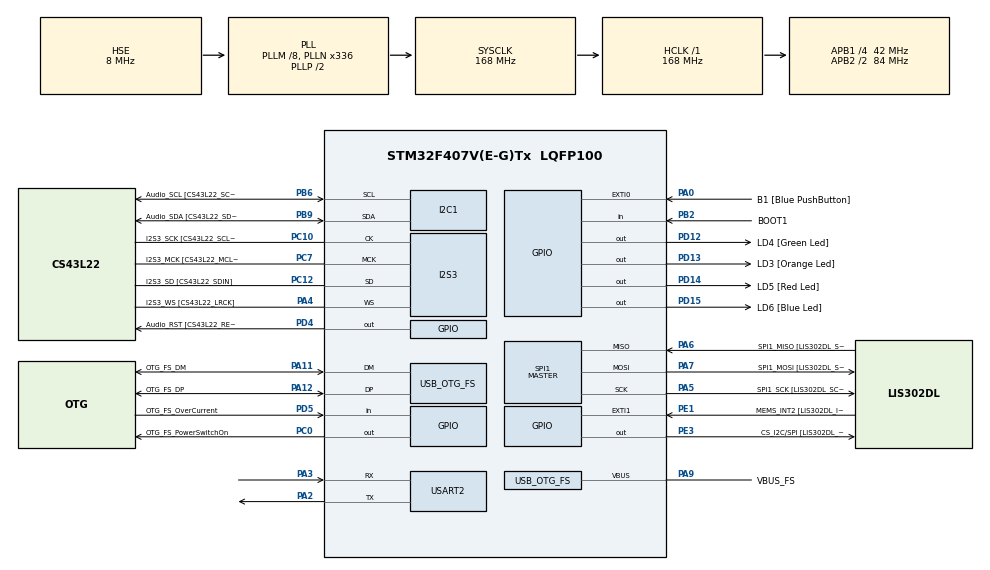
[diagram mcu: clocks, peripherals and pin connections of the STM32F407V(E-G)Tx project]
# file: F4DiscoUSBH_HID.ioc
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I2S3.AudioFreq-Half_Duplex_Master=I2S_AUDIOFREQ_96K
I2S3.ErrorAudioFreq=-2.34 %
I2S3.ErrorAudioFreq-Half_Duplex_Master=0.8 %
I2S3.FullDuplexMode=I2S_FULLDUPLEXMODE_DISABLE
I2S3.Instance=SPI$Index
I2S3.RealAudioFreq=93.75 KHz
I2S3.RealAudioFreq-Half_Duplex_Master=96.774 KHz
I2S3.VirtualMode=I2S_MODE_MASTER
Mcu.Family=STM32F4
Mcu.Name=STM32F407V(E-G)Tx
Mcu.Package=LQFP100
NVIC.OTG_FS_IRQn=true\:0\:0\:false\:false\:true\:false\:true
NVIC.PriorityGroup=NVIC_PRIORITYGROUP_0
PA0-WKUP.GPIO_Label=B1 [Blue PushButton]
PA0-WKUP.GPIO_ModeDefaultEXTI=GPIO_MODE_EVT_RISING
PA0-WKUP.GPIO_PuPd=GPIO_NOPULL
PA0-WKUP.Signal=GPXTI0
PA10.GPIO_Label=OTG_FS_ID
PA10.GPIO_Mode=GPIO_MODE_AF_PP
PA10.GPIO_PuPd=GPIO_NOPULL
PA10.GPIO_Speed=GPIO_SPEED_FREQ_LOW
PA10.Signal=USB_OTG_FS_ID
PA11.GPIO_Label=OTG_FS_DM
PA11.GPIO_Mode=GPIO_MODE_AF_PP
PA11.GPIO_PuPd=GPIO_NOPULL
PA11.GPIO_Speed=GPIO_SPEED_FREQ_LOW
PA11.Mode=Host_Only
PA11.Signal=USB_OTG_FS_DM
PA12.GPIO_Label=OTG_FS_DP
PA12.GPIO_Mode=GPIO_MODE_AF_PP
PA12.GPIO_PuPd=GPIO_NOPULL
PA12.GPIO_Speed=GPIO_SPEED_FREQ_LOW
PA12.Mode=Host_Only
PA12.Signal=USB_OTG_FS_DP
PA13.GPIO_Label=SWDIO
PA13.Mode=Serial_Wire
PA13.Signal=SYS_JTMS-SWDIO
PA14.GPIO_Label=SWCLK
PA14.Mode=Serial_Wire
PA14.Signal=SYS_JTCK-SWCLK
PA2.Mode=Asynchronous
PA2.Signal=USART2_TX
PA3.Mode=Asynchronous
PA3.Signal=USART2_RX
PA4.GPIO_Label=I2S3_WS [CS43L22_LRCK]
PA4.GPIO_Mode=GPIO_MODE_AF_PP
PA4.GPIO_PuPd=GPIO_NOPULL
PA4.GPIO_Speed=GPIO_SPEED_FREQ_LOW
PA4.Mode=Half_Duplex_Master
PA4.Signal=I2S3_WS
PA5.GPIO_Label=SPI1_SCK [LIS302DL_SCL/SPC]
PA5.GPIO_Mode=GPIO_MODE_AF_PP
PA5.GPIO_PuPd=GPIO_NOPULL
PA5.GPIO_Speed=GPIO_SPEED_FREQ_LOW
PA5.Mode=Full_Duplex_Master
PA5.Signal=SPI1_SCK
PA6.GPIO_Label=SPI1_MISO [LIS302DL_SDO]
PA6.GPIO_Mode=GPIO_MODE_AF_PP
PA6.GPIO_PuPd=GPIO_NOPULL
PA6.GPIO_Speed=GPIO_SPEED_FREQ_LOW
PA6.Mode=Full_Duplex_Master
PA6.Signal=SPI1_MISO
PA7.GPIO_Label=SPI1_MOSI [LIS302DL_SDA/SDI/SDO]
PA7.GPIO_Mode=GPIO_MODE_AF_PP
PA7.GPIO_PuPd=GPIO_NOPULL
PA7.GPIO_Speed=GPIO_SPEED_FREQ_LOW
PA7.Mode=Full_Duplex_Master
PA7.Signal=SPI1_MOSI
PA9.GPIO_Label=VBUS_FS
PA9.GPIO_Mode=GPIO_MODE_INPUT
PA9.GPIO_PuPd=GPIO_NOPULL
PA9.Mode=Activate_VBUS
PA9.Signal=USB_OTG_FS_VBUS
PB10.GPIO_Label=CLK_IN [MP45DT02_CLK]
PB10.GPIO_Mode=GPIO_MODE_AF_PP
PB10.GPIO_PuPd=GPIO_NOPULL
PB10.GPIO_Speed=GPIO_SPEED_FREQ_LOW
PB10.Signal=I2S2_CK
PB2.GPIO_Label=BOOT1
PB2.GPIO_Mode=GPIO_MODE_INPUT
PB2.GPIO_PuPd=GPIO_NOPULL
PB2.Signal=GPIO_Input
PB3.GPIO_Label=SWO
PB3.Signal=SYS_JTDO-SWO
PB6.GPIO_Label=Audio_SCL [CS43L22_SCL]
PB6.GPIO_Mode=GPIO_MODE_AF_OD
PB6.GPIO_PuPd=GPIO_NOPULL
PB6.GPIO_Speed=GPIO_SPEED_FREQ_LOW
PB6.Mode=I2C
PB6.Signal=I2C1_SCL
PB9.GPIO_Label=Audio_SDA [CS43L22_SDA]
PB9.GPIO_Mode=GPIO_MODE_AF_OD
PB9.GPIO_PuPd=GPIO_NOPULL
PB9.GPIO_Speed=GPIO_SPEED_FREQ_LOW
PB9.Mode=I2C
PB9.Signal=I2C1_SDA
PC0.GPIO_Label=OTG_FS_PowerSwitchOn
PC0.GPIO_PuPd=GPIO_NOPULL
PC0.GPIO_Speed=GPIO_SPEED_FREQ_LOW
PC0.PinState=GPIO_PIN_SET
PC0.Signal=GPIO_Output
PC10.GPIO_Label=I2S3_SCK [CS43L22_SCLK]
PC10.GPIO_Mode=GPIO_MODE_AF_PP
PC10.GPIO_PuPd=GPIO_NOPULL
PC10.GPIO_Speed=GPIO_SPEED_FREQ_LOW
PC10.Mode=Half_Duplex_Master
PC10.Signal=I2S3_CK
PC12.GPIO_Label=I2S3_SD [CS43L22_SDIN]
PC12.GPIO_Mode=GPIO_MODE_AF_PP
PC12.GPIO_PuPd=GPIO_NOPULL
PC12.GPIO_Speed=GPIO_SPEED_FREQ_LOW
PC12.Mode=Half_Duplex_Master
PC12.Signal=I2S3_SD
PC14-OSC32_IN.GPIO_Label=PC14-OSC32_IN
PC14-OSC32_IN.Mode=LSE-External-Oscillator
PC14-OSC32_IN.Signal=RCC_OSC32_IN
PC15-OSC32_OUT.GPIO_Label=PC15-OSC32_OUT
PC15-OSC32_OUT.Mode=LSE-External-Oscillator
PC15-OSC32_OUT.Signal=RCC_OSC32_OUT
PC3.GPIO_Label=PDM_OUT [MP45DT02_DOUT]
PC3.GPIO_Mode=GPIO_MODE_AF_PP
PC3.GPIO_PuPd=GPIO_NOPULL
PC3.GPIO_Speed=GPIO_SPEED_FREQ_LOW
PC3.Signal=I2S2_SD
PC7.GPIO_Label=I2S3_MCK [CS43L22_MCLK]
PC7.GPIO_Mode=GPIO_MODE_AF_PP
PC7.GPIO_PuPd=GPIO_NOPULL
PC7.GPIO_Speed=GPIO_SPEED_FREQ_LOW
PC7.Mode=Master_Clock_Activated
PC7.Signal=I2S3_MCK
PD12.GPIO_Label=LD4 [Green Led]
PD12.GPIO_PuPd=GPIO_NOPULL
PD12.GPIO_Speed=GPIO_SPEED_FREQ_LOW
PD12.Signal=GPIO_Output
PD13.GPIO_Label=LD3 [Orange Led]
PD13.GPIO_PuPd=GPIO_NOPULL
PD13.GPIO_Speed=GPIO_SPEED_FREQ_LOW
PD13.Signal=GPIO_Output
PD14.GPIO_Label=LD5 [Red Led]
PD14.GPIO_PuPd=GPIO_NOPULL
PD14.GPIO_Speed=GPIO_SPEED_FREQ_LOW
PD14.Signal=GPIO_Output
PD15.GPIO_Label=LD6 [Blue Led]
PD15.GPIO_PuPd=GPIO_NOPULL
PD15.GPIO_Speed=GPIO_SPEED_FREQ_LOW
PD15.Signal=GPIO_Output
PD4.GPIO_Label=Audio_RST [CS43L22_RESET]
PD4.GPIO_PuPd=GPIO_NOPULL
PD4.GPIO_Speed=GPIO_SPEED_FREQ_LOW
PD4.Signal=GPIO_Output
PD5.GPIO_Label=OTG_FS_OverCurrent
PD5.GPIO_Mode=GPIO_MODE_INPUT
PD5.GPIO_PuPd=GPIO_NOPULL
PD5.Signal=GPIO_Input
PE1.GPIO_Label=MEMS_INT2 [LIS302DL_INT2]
PE1.GPIO_ModeDefaultEXTI=GPIO_MODE_EVT_RISING
PE1.GPIO_PuPd=GPIO_NOPULL
PE1.Signal=GPXTI1
PE3.GPIO_Label=CS_I2C/SPI [LIS302DL_CS_I2C/SPI]
PE3.GPIO_PuPd=GPIO_NOPULL
PE3.GPIO_Speed=GPIO_SPEED_FREQ_LOW
PE3.Signal=GPIO_Output
PH0-OSC_IN.GPIO_Label=PH0-OSC_IN
PH0-OSC_IN.Mode=HSE-External-Oscillator
PH0-OSC_IN.Signal=RCC_OSC_IN
PH1-OSC_OUT.GPIO_Label=PH1-OSC_OUT
PH1-OSC_OUT.Mode=HSE-External-Oscillator
PH1-OSC_OUT.Signal=RCC_OSC_OUT
ProjectManager.HeapSize=0x200
ProjectManager.StackSize=0x400
ProjectManager.TargetToolchain=STM32CubeIDE
RCC.48MHZClocksFreq_Value=48000000
RCC.AHBFreq_Value=168000000
RCC.APB1CLKDivider=RCC_HCLK_DIV4
RCC.APB1Freq_Value=42000000
RCC.APB1TimFreq_Value=84000000
RCC.APB2CLKDivider=RCC_HCLK_DIV2
RCC.APB2Freq_Value=84000000
RCC.APB2TimFreq_Value=168000000
RCC.CortexFreq_Value=168000000
RCC.HCLKFreq_Value=168000000
RCC.HSE_VALUE=8000000
RCC.HSI_VALUE=16000000
RCC.PLLM=8
RCC.PLLN=336
RCC.PLLQ=7
RCC.SYSCLKFreq_VALUE=168000000
RCC.SYSCLKSource=RCC_SYSCLKSOURCE_PLLCLK
RCC.VCOOutputFreq_Value=336000000
SPI1.BaudRatePrescaler-Full_Duplex_Master=SPI_BAUDRATEPRESCALER_2
SPI1.CalculateBaudRate-Full_Duplex_Master=42.0 MBits/s
SPI1.Direction=SPI_DIRECTION_2LINES
SPI1.Mode=SPI_MODE_MASTER
SPI1.Mode-Full_Duplex_Master=SPI_MODE_MASTER
SPI1.VirtualType=VM_MASTER
USART2.VirtualMode=VM_ASYNC
USB_HOST.BSP.number=1
USB_HOST.USBH_HandleTypeDef-HID_FS=hUsbHostFS
USB_HOST.VirtualModeFS=Hid
USB_HOST0.BSP.STBoard=false
USB_HOST0.BSP.api=Unknown
USB_HOST0.BSP.i2caddr=0
USB_HOST0.BSP.i2creg=0
USB_HOST0.BSP.instance=PC0
USB_HOST0.BSP.ip=GPIO
USB_HOST0.BSP.mode=Output
USB_HOST0.BSP.name=Drive_VBUS_FS
USB_HOST0.BSP.solution=PC0
USB_OTG_FS.VirtualMode=Host_Only
USB_OTG_FS.phy_itface=HCD_PHY_EMBEDDED
VP_USB_HOST_VS_USB_HOST_HID_FS.Mode=HID_FS
board=STM32F407G-DISC1

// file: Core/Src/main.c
/* USER CODE BEGIN Header */
/**
  ******************************************************************************
  * @file           : main.c
  * @brief          : Main program body
  ******************************************************************************
  * @attention
  *
  * <h2><center>&copy; Copyright (c) 2020 STMicroelectronics.
  * All rights reserved.</center></h2>
  *
  * This software component is licensed by ST under Ultimate Liberty license
  * SLA0044, the "License"; You may not use this file except in compliance with
  * the License. You may obtain a copy of the License at:
  *                             www.st.com/SLA0044
  *
  ******************************************************************************
  */
/* USER CODE END Header */

#include "main.h"
#include "usb_host.h"

/* USER CODE BEGIN Includes */
#include "usbh_hid.h"
/* USER CODE END Includes */

I2C_HandleTypeDef hi2c1;

I2S_HandleTypeDef hi2s3;

SPI_HandleTypeDef hspi1;

UART_HandleTypeDef huart2;

void SystemClock_Config(void);
static void MX_GPIO_Init(void);
static void MX_I2C1_Init(void);
static void MX_I2S3_Init(void);
static void MX_SPI1_Init(void);
static void MX_USART2_UART_Init(void);
void MX_USB_HOST_Process(void);

int main(void)
{

  /* MCU Configuration--------------------------------------------------------*/

  /* Reset of all peripherals, Initializes the Flash interface and the Systick. */
  HAL_Init();

  /* Configure the system clock */
  SystemClock_Config();

  /* Initialize all configured peripherals */
  MX_GPIO_Init();
  MX_I2C1_Init();
  MX_I2S3_Init();
  MX_SPI1_Init();
  MX_USB_HOST_Init();
  MX_USART2_UART_Init();

  /* Infinite loop */
  while (1)
  {
    MX_USB_HOST_Process();

  }
}

void SystemClock_Config(void)
{
  RCC_OscInitTypeDef RCC_OscInitStruct = {0};
  RCC_ClkInitTypeDef RCC_ClkInitStruct = {0};
  RCC_PeriphCLKInitTypeDef PeriphClkInitStruct = {0};

  /** Configure the main internal regulator output voltage
  */
  __HAL_RCC_PWR_CLK_ENABLE();
  __HAL_PWR_VOLTAGESCALING_CONFIG(PWR_REGULATOR_VOLTAGE_SCALE1);
  /** Initializes the CPU, AHB and APB busses clocks
  */
  RCC_OscInitStruct.OscillatorType = RCC_OSCILLATORTYPE_HSE;
  RCC_OscInitStruct.HSEState = RCC_HSE_ON;
  RCC_OscInitStruct.PLL.PLLState = RCC_PLL_ON;
  RCC_OscInitStruct.PLL.PLLSource = RCC_PLLSOURCE_HSE;
  RCC_OscInitStruct.PLL.PLLM = 8;
  RCC_OscInitStruct.PLL.PLLN = 336;
  RCC_OscInitStruct.PLL.PLLP = RCC_PLLP_DIV2;
  RCC_OscInitStruct.PLL.PLLQ = 7;
  if (HAL_RCC_OscConfig(&RCC_OscInitStruct) != HAL_OK)
  {
    Error_Handler();
  }
  /** Initializes the CPU, AHB and APB busses clocks
  */
  RCC_ClkInitStruct.ClockType = RCC_CLOCKTYPE_HCLK|RCC_CLOCKTYPE_SYSCLK
                              |RCC_CLOCKTYPE_PCLK1|RCC_CLOCKTYPE_PCLK2;
  RCC_ClkInitStruct.SYSCLKSource = RCC_SYSCLKSOURCE_PLLCLK;
  RCC_ClkInitStruct.AHBCLKDivider = RCC_SYSCLK_DIV1;
  RCC_ClkInitStruct.APB1CLKDivider = RCC_HCLK_DIV4;
  RCC_ClkInitStruct.APB2CLKDivider = RCC_HCLK_DIV2;

  if (HAL_RCC_ClockConfig(&RCC_ClkInitStruct, FLASH_LATENCY_5) != HAL_OK)
  {
    Error_Handler();
  }
  PeriphClkInitStruct.PeriphClockSelection = RCC_PERIPHCLK_I2S;
  PeriphClkInitStruct.PLLI2S.PLLI2SN = 192;
  PeriphClkInitStruct.PLLI2S.PLLI2SR = 2;
  if (HAL_RCCEx_PeriphCLKConfig(&PeriphClkInitStruct) != HAL_OK)
  {
    Error_Handler();
  }
}

static void MX_I2C1_Init(void)
{

  hi2c1.Instance = I2C1;
  hi2c1.Init.ClockSpeed = 100000;
  hi2c1.Init.DutyCycle = I2C_DUTYCYCLE_2;
  hi2c1.Init.OwnAddress1 = 0;
  hi2c1.Init.AddressingMode = I2C_ADDRESSINGMODE_7BIT;
  hi2c1.Init.DualAddressMode = I2C_DUALADDRESS_DISABLE;
  hi2c1.Init.OwnAddress2 = 0;
  hi2c1.Init.GeneralCallMode = I2C_GENERALCALL_DISABLE;
  hi2c1.Init.NoStretchMode = I2C_NOSTRETCH_DISABLE;
  if (HAL_I2C_Init(&hi2c1) != HAL_OK)
  {
    Error_Handler();
  }

}

static void MX_I2S3_Init(void)
{

  hi2s3.Instance = SPI3;
  hi2s3.Init.Mode = I2S_MODE_MASTER_TX;
  hi2s3.Init.Standard = I2S_STANDARD_PHILIPS;
  hi2s3.Init.DataFormat = I2S_DATAFORMAT_16B;
  hi2s3.Init.MCLKOutput = I2S_MCLKOUTPUT_ENABLE;
  hi2s3.Init.AudioFreq = I2S_AUDIOFREQ_96K;
  hi2s3.Init.CPOL = I2S_CPOL_LOW;
  hi2s3.Init.ClockSource = I2S_CLOCK_PLL;
  hi2s3.Init.FullDuplexMode = I2S_FULLDUPLEXMODE_DISABLE;
  if (HAL_I2S_Init(&hi2s3) != HAL_OK)
  {
    Error_Handler();
  }

}

static void MX_SPI1_Init(void)
{

  /* SPI1 parameter configuration*/
  hspi1.Instance = SPI1;
  hspi1.Init.Mode = SPI_MODE_MASTER;
  hspi1.Init.Direction = SPI_DIRECTION_2LINES;
  hspi1.Init.DataSize = SPI_DATASIZE_8BIT;
  hspi1.Init.CLKPolarity = SPI_POLARITY_LOW;
  hspi1.Init.CLKPhase = SPI_PHASE_1EDGE;
  hspi1.Init.NSS = SPI_NSS_SOFT;
  hspi1.Init.BaudRatePrescaler = SPI_BAUDRATEPRESCALER_2;
  hspi1.Init.FirstBit = SPI_FIRSTBIT_MSB;
  hspi1.Init.TIMode = SPI_TIMODE_DISABLE;
  hspi1.Init.CRCCalculation = SPI_CRCCALCULATION_DISABLE;
  hspi1.Init.CRCPolynomial = 10;
  if (HAL_SPI_Init(&hspi1) != HAL_OK)
  {
    Error_Handler();
  }

}

static void MX_USART2_UART_Init(void)
{

  huart2.Instance = USART2;
  huart2.Init.BaudRate = 115200;
  huart2.Init.WordLength = UART_WORDLENGTH_8B;
  huart2.Init.StopBits = UART_STOPBITS_1;
  huart2.Init.Parity = UART_PARITY_NONE;
  huart2.Init.Mode = UART_MODE_TX_RX;
  huart2.Init.HwFlowCtl = UART_HWCONTROL_NONE;
  huart2.Init.OverSampling = UART_OVERSAMPLING_16;
  if (HAL_UART_Init(&huart2) != HAL_OK)
  {
    Error_Handler();
  }

}

static void MX_GPIO_Init(void)
{
  GPIO_InitTypeDef GPIO_InitStruct = {0};

  /* GPIO Ports Clock Enable */
  __HAL_RCC_GPIOE_CLK_ENABLE();
  __HAL_RCC_GPIOC_CLK_ENABLE();
  __HAL_RCC_GPIOH_CLK_ENABLE();
  __HAL_RCC_GPIOA_CLK_ENABLE();
  __HAL_RCC_GPIOB_CLK_ENABLE();
  __HAL_RCC_GPIOD_CLK_ENABLE();

  /*Configure GPIO pin Output Level */
  HAL_GPIO_WritePin(CS_I2C_SPI_GPIO_Port, CS_I2C_SPI_Pin, GPIO_PIN_RESET);

  /*Configure GPIO pin Output Level */
  HAL_GPIO_WritePin(OTG_FS_PowerSwitchOn_GPIO_Port, OTG_FS_PowerSwitchOn_Pin, GPIO_PIN_SET);

  /*Configure GPIO pin Output Level */
  HAL_GPIO_WritePin(GPIOD, LD4_Pin|LD3_Pin|LD5_Pin|LD6_Pin
                          |Audio_RST_Pin, GPIO_PIN_RESET);

  /*Configure GPIO pin : CS_I2C_SPI_Pin */
  GPIO_InitStruct.Pin = CS_I2C_SPI_Pin;
  GPIO_InitStruct.Mode = GPIO_MODE_OUTPUT_PP;
  GPIO_InitStruct.Pull = GPIO_NOPULL;
  GPIO_InitStruct.Speed = GPIO_SPEED_FREQ_LOW;
  HAL_GPIO_Init(CS_I2C_SPI_GPIO_Port, &GPIO_InitStruct);

  /*Configure GPIO pin : OTG_FS_PowerSwitchOn_Pin */
  GPIO_InitStruct.Pin = OTG_FS_PowerSwitchOn_Pin;
  GPIO_InitStruct.Mode = GPIO_MODE_OUTPUT_PP;
  GPIO_InitStruct.Pull = GPIO_NOPULL;
  GPIO_InitStruct.Speed = GPIO_SPEED_FREQ_LOW;
  HAL_GPIO_Init(OTG_FS_PowerSwitchOn_GPIO_Port, &GPIO_InitStruct);

  /*Configure GPIO pin : PDM_OUT_Pin */
  GPIO_InitStruct.Pin = PDM_OUT_Pin;
  GPIO_InitStruct.Mode = GPIO_MODE_AF_PP;
  GPIO_InitStruct.Pull = GPIO_NOPULL;
  GPIO_InitStruct.Speed = GPIO_SPEED_FREQ_LOW;
  GPIO_InitStruct.Alternate = GPIO_AF5_SPI2;
  HAL_GPIO_Init(PDM_OUT_GPIO_Port, &GPIO_InitStruct);

  /*Configure GPIO pin : B1_Pin */
  GPIO_InitStruct.Pin = B1_Pin;
  GPIO_InitStruct.Mode = GPIO_MODE_EVT_RISING;
  GPIO_InitStruct.Pull = GPIO_NOPULL;
  HAL_GPIO_Init(B1_GPIO_Port, &GPIO_InitStruct);

  /*Configure GPIO pin : BOOT1_Pin */
  GPIO_InitStruct.Pin = BOOT1_Pin;
  GPIO_InitStruct.Mode = GPIO_MODE_INPUT;
  GPIO_InitStruct.Pull = GPIO_NOPULL;
  HAL_GPIO_Init(BOOT1_GPIO_Port, &GPIO_InitStruct);

  /*Configure GPIO pin : CLK_IN_Pin */
  GPIO_InitStruct.Pin = CLK_IN_Pin;
  GPIO_InitStruct.Mode = GPIO_MODE_AF_PP;
  GPIO_InitStruct.Pull = GPIO_NOPULL;
  GPIO_InitStruct.Speed = GPIO_SPEED_FREQ_LOW;
  GPIO_InitStruct.Alternate = GPIO_AF5_SPI2;
  HAL_GPIO_Init(CLK_IN_GPIO_Port, &GPIO_InitStruct);

  /*Configure GPIO pins : LD4_Pin LD3_Pin LD5_Pin LD6_Pin
                           Audio_RST_Pin */
  GPIO_InitStruct.Pin = LD4_Pin|LD3_Pin|LD5_Pin|LD6_Pin
                          |Audio_RST_Pin;
  GPIO_InitStruct.Mode = GPIO_MODE_OUTPUT_PP;
  GPIO_InitStruct.Pull = GPIO_NOPULL;
  GPIO_InitStruct.Speed = GPIO_SPEED_FREQ_LOW;
  HAL_GPIO_Init(GPIOD, &GPIO_InitStruct);

  /*Configure GPIO pin : OTG_FS_OverCurrent_Pin */
  GPIO_InitStruct.Pin = OTG_FS_OverCurrent_Pin;
  GPIO_InitStruct.Mode = GPIO_MODE_INPUT;
  GPIO_InitStruct.Pull = GPIO_NOPULL;
  HAL_GPIO_Init(OTG_FS_OverCurrent_GPIO_Port, &GPIO_InitStruct);

  /*Configure GPIO pin : MEMS_INT2_Pin */
  GPIO_InitStruct.Pin = MEMS_INT2_Pin;
  GPIO_InitStruct.Mode = GPIO_MODE_EVT_RISING;
  GPIO_InitStruct.Pull = GPIO_NOPULL;
  HAL_GPIO_Init(MEMS_INT2_GPIO_Port, &GPIO_InitStruct);

}

/* USER CODE BEGIN 4 */
/**
* @brief  The function is a callback about HID Data events
*  @param  phost: Selected device
* @retval None
*/
void USBH_HID_EventCallback(USBH_HandleTypeDef *phost)
{
	HID_TypeTypeDef hidType;
	HID_KEYBD_Info_TypeDef *keybd_info;
	HID_MOUSE_Info_TypeDef *mouse_info;
	uint8_t asciiCode;
	uint8_t buttonInfo;

	hidType = USBH_HID_GetDeviceType(phost);
	if(hidType == HID_KEYBOARD){
		keybd_info = USBH_HID_GetKeybdInfo(phost);
		asciiCode = USBH_HID_GetASCIICode(keybd_info);
		HAL_UART_Transmit(&huart2, &asciiCode, 1, 100);
	}
	else if(hidType == HID_MOUSE){
		mouse_info = USBH_HID_GetMouseInfo(phost);
		if(mouse_info->buttons[0] == 1){
			buttonInfo = 'L';
		}
		else if(mouse_info->buttons[1] == 1){
			buttonInfo = 'R';
		}
		else if(mouse_info->buttons[2] == 1){
			buttonInfo = 'C';
		}
		HAL_UART_Transmit(&huart2, &buttonInfo, 1, 100);
	}
}

/* USER CODE END 4 */

void Error_Handler(void)
{
}

/************************ (C) COPYRIGHT STMicroelectronics *****END OF FILE****/
